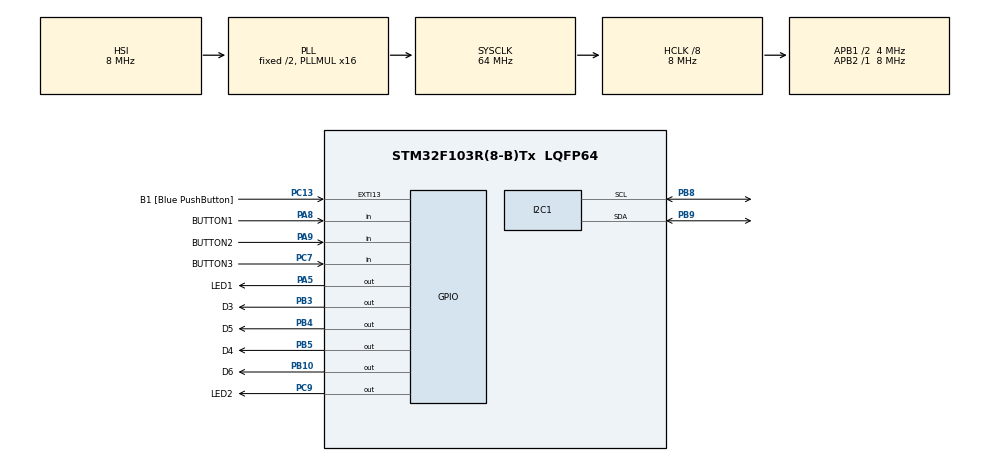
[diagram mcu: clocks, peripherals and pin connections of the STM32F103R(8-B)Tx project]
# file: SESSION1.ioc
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Mcu.Family=STM32F1
Mcu.Name=STM32F103R(8-B)Tx
Mcu.Package=LQFP64
NVIC.EXTI15_10_IRQn=true\:0\:0\:false\:false\:true\:true\:true\:true
NVIC.I2C1_ER_IRQn=true\:0\:0\:false\:false\:true\:true\:true\:true
NVIC.I2C1_EV_IRQn=true\:0\:0\:false\:false\:true\:true\:true\:true
NVIC.PriorityGroup=NVIC_PRIORITYGROUP_4
NVIC.TIM2_IRQn=true\:0\:0\:false\:false\:true\:true\:true\:true
PA13.GPIO_Label=TMS
PA13.Mode=Serial_Wire
PA13.Signal=SYS_JTMS-SWDIO
PA14.GPIO_Label=TCK
PA14.Mode=Serial_Wire
PA14.Signal=SYS_JTCK-SWCLK
PA2.Signal=USART2_TX
PA3.Signal=USART2_RX
PA5.GPIO_Label=LED1
PA5.Signal=GPIO_Output
PA8.GPIO_Label=BUTTON1
PA8.Signal=GPIO_Input
PA9.GPIO_Label=BUTTON2
PA9.Signal=GPIO_Input
PB10.GPIO_Label=D6
PB10.Signal=GPIO_Output
PB3.GPIO_Label=D3
PB3.Signal=GPIO_Output
PB4.GPIO_Label=D5
PB4.Signal=GPIO_Output
PB5.GPIO_Label=D4
PB5.Signal=GPIO_Output
PB8.Mode=I2C
PB8.Signal=I2C1_SCL
PB9.Mode=I2C
PB9.Signal=I2C1_SDA
PC13-TAMPER-RTC.GPIO_Label=B1 [Blue PushButton]
PC13-TAMPER-RTC.GPIO_PuPd=GPIO_NOPULL
PC13-TAMPER-RTC.Signal=GPXTI13
PC14-OSC32_IN.Mode=LSE-External-Oscillator
PC14-OSC32_IN.Signal=RCC_OSC32_IN
PC15-OSC32_OUT.Mode=LSE-External-Oscillator
PC15-OSC32_OUT.Signal=RCC_OSC32_OUT
PC7.GPIO_Label=BUTTON3
PC7.Signal=GPIO_Input
PC9.GPIO_Label=LED2
PC9.Signal=GPIO_Output
PD0-OSC_IN.Mode=HSE-External-Clock-Source
PD0-OSC_IN.Signal=RCC_OSC_IN
PD1-OSC_OUT.Mode=HSE-External-Clock-Source
PD1-OSC_OUT.Signal=RCC_OSC_OUT
ProjectManager.HeapSize=0x200
ProjectManager.StackSize=0x400
ProjectManager.TargetToolchain=STM32CubeIDE
RCC.AHBCLKDivider=RCC_SYSCLK_DIV8
RCC.AHBFreq_Value=8000000
RCC.APB1CLKDivider=RCC_HCLK_DIV2
RCC.APB1Freq_Value=4000000
RCC.APB1TimFreq_Value=8000000
RCC.APB2Freq_Value=8000000
RCC.APB2TimFreq_Value=8000000
RCC.HCLKFreq_Value=8000000
RCC.PLLMUL=RCC_PLL_MUL16
RCC.RTCClockSelection=RCC_RTCCLKSOURCE_LSE
RCC.SYSCLKFreq_VALUE=64000000
RCC.SYSCLKSource=RCC_SYSCLKSOURCE_PLLCLK
RCC.USBFreq_Value=64000000
TIM2.Period=9
TIM2.Prescaler=7999
VP_TIM2_VS_ClockSourceINT.Mode=Internal
board=NUCLEO-F103RB

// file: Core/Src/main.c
/* USER CODE BEGIN Header */
/**
  ******************************************************************************
  * @file           : main.c
  * @brief          : Main program body
  ******************************************************************************
  * @attention
  *
  * Copyright (c) 2024 STMicroelectronics.
  * All rights reserved.
  *
  * This software is licensed under terms that can be found in the LICENSE file
  * in the root directory of this software component.
  * If no LICENSE file comes with this software, it is provided AS-IS.
  *
  ******************************************************************************
  */
/* USER CODE END Header */
#include "main.h"

/* USER CODE BEGIN Includes */
#include "timer.h"
#include "input_reading.h"
#include "global.h"
#include "7SEG.h"
#include "input_process.h"
#include "FSM.h"
#include "i2c-lcd.h"
#include "string.h"
/* USER CODE END Includes */

I2C_HandleTypeDef hi2c1;

TIM_HandleTypeDef htim2;

void SystemClock_Config(void);
static void MX_GPIO_Init(void);
static void MX_TIM2_Init(void);
static void MX_I2C1_Init(void);

int main(void)
{

  /* MCU Configuration--------------------------------------------------------*/

  /* Reset of all peripherals, Initializes the Flash interface and the Systick. */
  HAL_Init();

  /* Configure the system clock */
  SystemClock_Config();

  /* Initialize all configured peripherals */
  MX_GPIO_Init();
  MX_TIM2_Init();
  MX_I2C1_Init();
  /* USER CODE BEGIN 2 */
  HAL_TIM_Base_Start_IT(&htim2);
  /* USER CODE END 2 */

  /* Infinite loop */
  /* USER CODE BEGIN WHILE */
  init_button();
  LedInit();

  setTimer0(100);
  setTimer1(1);
  setTimer2(90);

  setTimer3(1);
  lcd_init();

	mode=1;
//  HAL_Delay(50);

        while (1)
        {
        	ModeBuffer();

        	displayMode();

        	Update();
    /* USER CODE END WHILE */

        }
}

void SystemClock_Config(void)
{
  RCC_OscInitTypeDef RCC_OscInitStruct = {0};
  RCC_ClkInitTypeDef RCC_ClkInitStruct = {0};

  /** Initializes the RCC Oscillators according to the specified parameters
  * in the RCC_OscInitTypeDef structure.
  */
  RCC_OscInitStruct.OscillatorType = RCC_OSCILLATORTYPE_HSI;
  RCC_OscInitStruct.HSIState = RCC_HSI_ON;
  RCC_OscInitStruct.HSICalibrationValue = RCC_HSICALIBRATION_DEFAULT;
  RCC_OscInitStruct.PLL.PLLState = RCC_PLL_ON;
  RCC_OscInitStruct.PLL.PLLSource = RCC_PLLSOURCE_HSI_DIV2;
  RCC_OscInitStruct.PLL.PLLMUL = RCC_PLL_MUL16;
  if (HAL_RCC_OscConfig(&RCC_OscInitStruct) != HAL_OK)
  {
    Error_Handler();
  }

  /** Initializes the CPU, AHB and APB buses clocks
  */
  RCC_ClkInitStruct.ClockType = RCC_CLOCKTYPE_HCLK|RCC_CLOCKTYPE_SYSCLK
                              |RCC_CLOCKTYPE_PCLK1|RCC_CLOCKTYPE_PCLK2;
  RCC_ClkInitStruct.SYSCLKSource = RCC_SYSCLKSOURCE_PLLCLK;
  RCC_ClkInitStruct.AHBCLKDivider = RCC_SYSCLK_DIV8;
  RCC_ClkInitStruct.APB1CLKDivider = RCC_HCLK_DIV2;
  RCC_ClkInitStruct.APB2CLKDivider = RCC_HCLK_DIV1;

  if (HAL_RCC_ClockConfig(&RCC_ClkInitStruct, FLASH_LATENCY_2) != HAL_OK)
  {
    Error_Handler();
  }
}

static void MX_I2C1_Init(void)
{

  hi2c1.Instance = I2C1;
  hi2c1.Init.ClockSpeed = 100000;
  hi2c1.Init.DutyCycle = I2C_DUTYCYCLE_2;
  hi2c1.Init.OwnAddress1 = 0;
  hi2c1.Init.AddressingMode = I2C_ADDRESSINGMODE_7BIT;
  hi2c1.Init.DualAddressMode = I2C_DUALADDRESS_DISABLE;
  hi2c1.Init.OwnAddress2 = 0;
  hi2c1.Init.GeneralCallMode = I2C_GENERALCALL_DISABLE;
  hi2c1.Init.NoStretchMode = I2C_NOSTRETCH_DISABLE;
  if (HAL_I2C_Init(&hi2c1) != HAL_OK)
  {
    Error_Handler();
  }

}

static void MX_TIM2_Init(void)
{

  TIM_ClockConfigTypeDef sClockSourceConfig = {0};
  TIM_MasterConfigTypeDef sMasterConfig = {0};

  htim2.Instance = TIM2;
  htim2.Init.Prescaler = 7999;
  htim2.Init.CounterMode = TIM_COUNTERMODE_UP;
  htim2.Init.Period = 9;
  htim2.Init.ClockDivision = TIM_CLOCKDIVISION_DIV1;
  htim2.Init.AutoReloadPreload = TIM_AUTORELOAD_PRELOAD_DISABLE;
  if (HAL_TIM_Base_Init(&htim2) != HAL_OK)
  {
    Error_Handler();
  }
  sClockSourceConfig.ClockSource = TIM_CLOCKSOURCE_INTERNAL;
  if (HAL_TIM_ConfigClockSource(&htim2, &sClockSourceConfig) != HAL_OK)
  {
    Error_Handler();
  }
  sMasterConfig.MasterOutputTrigger = TIM_TRGO_RESET;
  sMasterConfig.MasterSlaveMode = TIM_MASTERSLAVEMODE_DISABLE;
  if (HAL_TIMEx_MasterConfigSynchronization(&htim2, &sMasterConfig) != HAL_OK)
  {
    Error_Handler();
  }

}

static void MX_GPIO_Init(void)
{
  GPIO_InitTypeDef GPIO_InitStruct = {0};

  /* GPIO Ports Clock Enable */
  __HAL_RCC_GPIOC_CLK_ENABLE();
  __HAL_RCC_GPIOD_CLK_ENABLE();
  __HAL_RCC_GPIOA_CLK_ENABLE();
  __HAL_RCC_GPIOB_CLK_ENABLE();

  /*Configure GPIO pin Output Level */
  HAL_GPIO_WritePin(LED1_GPIO_Port, LED1_Pin, GPIO_PIN_RESET);

  /*Configure GPIO pin Output Level */
  HAL_GPIO_WritePin(GPIOB, D6_Pin|D3_Pin|D5_Pin|D4_Pin, GPIO_PIN_RESET);

  /*Configure GPIO pin Output Level */
  HAL_GPIO_WritePin(LED2_GPIO_Port, LED2_Pin, GPIO_PIN_RESET);

  /*Configure GPIO pin : B1_Pin */
  GPIO_InitStruct.Pin = B1_Pin;
  GPIO_InitStruct.Mode = GPIO_MODE_IT_RISING;
  GPIO_InitStruct.Pull = GPIO_NOPULL;
  HAL_GPIO_Init(B1_GPIO_Port, &GPIO_InitStruct);

  /*Configure GPIO pin : PA2 */
  GPIO_InitStruct.Pin = GPIO_PIN_2;
  GPIO_InitStruct.Mode = GPIO_MODE_AF_PP;
  GPIO_InitStruct.Speed = GPIO_SPEED_FREQ_HIGH;
  HAL_GPIO_Init(GPIOA, &GPIO_InitStruct);

  /*Configure GPIO pin : PA3 */
  GPIO_InitStruct.Pin = GPIO_PIN_3;
  GPIO_InitStruct.Mode = GPIO_MODE_INPUT;
  GPIO_InitStruct.Pull = GPIO_NOPULL;
  HAL_GPIO_Init(GPIOA, &GPIO_InitStruct);

  /*Configure GPIO pin : LED1_Pin */
  GPIO_InitStruct.Pin = LED1_Pin;
  GPIO_InitStruct.Mode = GPIO_MODE_OUTPUT_PP;
  GPIO_InitStruct.Pull = GPIO_NOPULL;
  GPIO_InitStruct.Speed = GPIO_SPEED_FREQ_LOW;
  HAL_GPIO_Init(LED1_GPIO_Port, &GPIO_InitStruct);

  /*Configure GPIO pins : D6_Pin D3_Pin D5_Pin D4_Pin */
  GPIO_InitStruct.Pin = D6_Pin|D3_Pin|D5_Pin|D4_Pin;
  GPIO_InitStruct.Mode = GPIO_MODE_OUTPUT_PP;
  GPIO_InitStruct.Pull = GPIO_NOPULL;
  GPIO_InitStruct.Speed = GPIO_SPEED_FREQ_LOW;
  HAL_GPIO_Init(GPIOB, &GPIO_InitStruct);

  /*Configure GPIO pin : BUTTON3_Pin */
  GPIO_InitStruct.Pin = BUTTON3_Pin;
  GPIO_InitStruct.Mode = GPIO_MODE_INPUT;
  GPIO_InitStruct.Pull = GPIO_NOPULL;
  HAL_GPIO_Init(BUTTON3_GPIO_Port, &GPIO_InitStruct);

  /*Configure GPIO pin : LED2_Pin */
  GPIO_InitStruct.Pin = LED2_Pin;
  GPIO_InitStruct.Mode = GPIO_MODE_OUTPUT_PP;
  GPIO_InitStruct.Pull = GPIO_NOPULL;
  GPIO_InitStruct.Speed = GPIO_SPEED_FREQ_LOW;
  HAL_GPIO_Init(LED2_GPIO_Port, &GPIO_InitStruct);

  /*Configure GPIO pins : BUTTON1_Pin BUTTON2_Pin */
  GPIO_InitStruct.Pin = BUTTON1_Pin|BUTTON2_Pin;
  GPIO_InitStruct.Mode = GPIO_MODE_INPUT;
  GPIO_InitStruct.Pull = GPIO_NOPULL;
  HAL_GPIO_Init(GPIOA, &GPIO_InitStruct);

  /* EXTI interrupt init*/
  HAL_NVIC_SetPriority(EXTI15_10_IRQn, 0, 0);
  HAL_NVIC_EnableIRQ(EXTI15_10_IRQn);

}

/* USER CODE BEGIN 4 */

void HAL_TIM_PeriodElapsedCallback(TIM_HandleTypeDef *htim){

		timer_run();
		button_reading();

 }
void HAL_I2C_MasterTxCpltCallback (I2C_HandleTypeDef * hi2c)
{

}
/* USER CODE END 4 */

void Error_Handler(void)
{
  __disable_irq();
  while (1)
  {
  }
}
